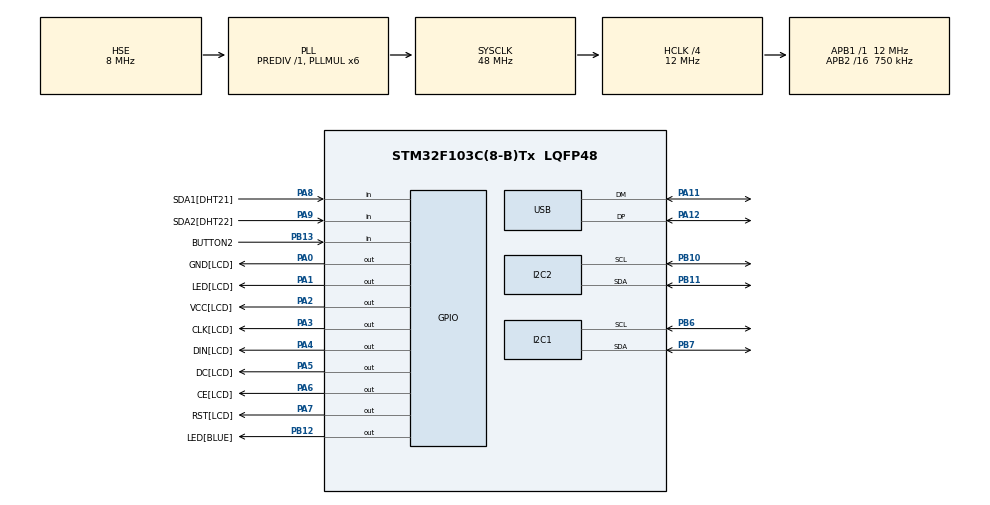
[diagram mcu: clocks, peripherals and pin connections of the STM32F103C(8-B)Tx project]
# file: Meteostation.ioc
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I2C1.I2C_Mode=I2C_Fast
Mcu.Family=STM32F1
Mcu.Name=STM32F103C(8-B)Tx
Mcu.Package=LQFP48
NVIC.PriorityGroup=NVIC_PRIORITYGROUP_4
NVIC.TIM3_IRQn=true\:0\:0\:false\:false\:true\:true
NVIC.USB_LP_CAN1_RX0_IRQn=true\:0\:0\:false\:false\:true\:false
PA0-WKUP.GPIO_Label=GND[LCD]
PA0-WKUP.Signal=GPIO_Output
PA1.GPIO_Label=LED[LCD]
PA1.Signal=GPIO_Output
PA11.Mode=Device
PA11.Signal=USB_DM
PA12.Mode=Device
PA12.Signal=USB_DP
PA13.Mode=Serial_Wire
PA13.Signal=SYS_JTMS-SWDIO
PA14.Mode=Serial_Wire
PA14.Signal=SYS_JTCK-SWCLK
PA2.GPIO_Label=VCC[LCD]
PA2.PinState=GPIO_PIN_SET
PA2.Signal=GPIO_Output
PA3.GPIO_Label=CLK[LCD]
PA3.Signal=GPIO_Output
PA4.GPIO_Label=DIN[LCD]
PA4.Signal=GPIO_Output
PA5.GPIO_Label=DC[LCD]
PA5.Signal=GPIO_Output
PA6.GPIO_Label=CE[LCD]
PA6.Signal=GPIO_Output
PA7.GPIO_Label=RST[LCD]
PA7.Signal=GPIO_Output
PA8.GPIO_Label=SDA1[DHT21]
PA8.GPIO_PuPd=GPIO_PULLUP
PA8.Signal=GPIO_Input
PA9.GPIO_Label=SDA2[DHT22]
PA9.GPIO_PuPd=GPIO_PULLUP
PA9.Signal=GPIO_Input
PB10.Mode=I2C
PB10.Signal=I2C2_SCL
PB11.Mode=I2C
PB11.Signal=I2C2_SDA
PB12.GPIO_Label=LED[BLUE]
PB12.PinState=GPIO_PIN_SET
PB12.Signal=GPIO_Output
PB13.GPIO_Label=BUTTON2
PB13.GPIO_PuPd=GPIO_PULLUP
PB13.Signal=GPIO_Input
PB6.Mode=I2C
PB6.Signal=I2C1_SCL
PB7.Mode=I2C
PB7.Signal=I2C1_SDA
PD0-OSC_IN.Mode=HSE-External-Oscillator
PD0-OSC_IN.Signal=RCC_OSC_IN
PD1-OSC_OUT.Mode=HSE-External-Oscillator
PD1-OSC_OUT.Signal=RCC_OSC_OUT
ProjectManager.HeapSize=0x200
ProjectManager.StackSize=0x400
ProjectManager.TargetToolchain=TrueSTUDIO
RCC.AHBCLKDivider=RCC_SYSCLK_DIV4
RCC.AHBFreq_Value=12000000
RCC.APB1Freq_Value=12000000
RCC.APB1TimFreq_Value=12000000
RCC.APB2CLKDivider=RCC_HCLK_DIV16
RCC.APB2Freq_Value=750000
RCC.APB2TimFreq_Value=1500000
RCC.HCLKFreq_Value=12000000
RCC.PLLMUL=RCC_PLL_MUL6
RCC.SYSCLKFreq_VALUE=48000000
RCC.SYSCLKSource=RCC_SYSCLKSOURCE_PLLCLK
RCC.USBFreq_Value=48000000
TIM2.Period=65535
TIM2.Prescaler=11
TIM2.TIM_MasterOutputTrigger=TIM_TRGO_RESET
TIM3.Period=29
TIM3.Prescaler=11999
TIM3.TIM_MasterOutputTrigger=TIM_TRGO_UPDATE
USB_DEVICE.CLASS_NAME_FS=CDC
USB_DEVICE.VirtualMode=Cdc
USB_DEVICE.VirtualModeFS=Cdc_FS
VP_TIM2_VS_ClockSourceINT.Mode=Internal
VP_TIM3_VS_ClockSourceINT.Mode=Internal
VP_USB_DEVICE_VS_USB_DEVICE_CDC_FS.Mode=CDC_FS
board=Meteostation

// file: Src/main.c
/**
  ******************************************************************************
  * @file           : main.c
  * @brief          : Main program body
  ******************************************************************************
  * This notice applies to any and all portions of this file
  * that are not between comment pairs USER CODE BEGIN and
  * USER CODE END. Other portions of this file, whether
  * inserted by the user or by software development tools
  * are owned by their respective copyright owners.
  *
  * Copyright (c) 2018 STMicroelectronics International N.V.
  * All rights reserved.
  *
  * Redistribution and use in source and binary forms, with or without
  * modification, are permitted, provided that the following conditions are met:
  *
  * 1. Redistribution of source code must retain the above copyright notice,
  *    this list of conditions and the following disclaimer.
  * 2. Redistributions in binary form must reproduce the above copyright notice,
  *    this list of conditions and the following disclaimer in the documentation
  *    and/or other materials provided with the distribution.
  * 3. Neither the name of STMicroelectronics nor the names of other
  *    contributors to this software may be used to endorse or promote products
  *    derived from this software without specific written permission.
  * 4. This software, including modifications and/or derivative works of this
  *    software, must execute solely and exclusively on microcontroller or
  *    microprocessor devices manufactured by or for STMicroelectronics.
  * 5. Redistribution and use of this software other than as permitted under
  *    this license is void and will automatically terminate your rights under
  *    this license.
  *
  * THIS SOFTWARE IS PROVIDED BY STMICROELECTRONICS AND CONTRIBUTORS "AS IS"
  * AND ANY EXPRESS, IMPLIED OR STATUTORY WARRANTIES, INCLUDING, BUT NOT
  * LIMITED TO, THE IMPLIED WARRANTIES OF MERCHANTABILITY, FITNESS FOR A
  * PARTICULAR PURPOSE AND NON-INFRINGEMENT OF THIRD PARTY INTELLECTUAL PROPERTY
  * RIGHTS ARE DISCLAIMED TO THE FULLEST EXTENT PERMITTED BY LAW. IN NO EVENT
  * SHALL STMICROELECTRONICS OR CONTRIBUTORS BE LIABLE FOR ANY DIRECT, INDIRECT,
  * INCIDENTAL, SPECIAL, EXEMPLARY, OR CONSEQUENTIAL DAMAGES (INCLUDING, BUT NOT
  * LIMITED TO, PROCUREMENT OF SUBSTITUTE GOODS OR SERVICES; LOSS OF USE, DATA,
  * OR PROFITS; OR BUSINESS INTERRUPTION) HOWEVER CAUSED AND ON ANY THEORY OF
  * LIABILITY, WHETHER IN CONTRACT, STRICT LIABILITY, OR TORT (INCLUDING
  * NEGLIGENCE OR OTHERWISE) ARISING IN ANY WAY OUT OF THE USE OF THIS SOFTWARE,
  * EVEN IF ADVISED OF THE POSSIBILITY OF SUCH DAMAGE.
  *
  ******************************************************************************
  */
#include "main.h"
#include "stm32f1xx_hal.h"
#include "usb_device.h"

/* USER CODE BEGIN Includes */

#include "fonts.h"
#include "nokia5110.h"

#define BME280_OPERATIONS
#define LED_OPERATIONS

#define WRITE_COMMAND	0x00

/* USER CODE END Includes */

I2C_HandleTypeDef hi2c1;
I2C_HandleTypeDef hi2c2;

TIM_HandleTypeDef htim2;
TIM_HandleTypeDef htim3;

/* USER CODE BEGIN PV */
/* Private variables ---------------------------------------------------------*/

typedef enum ButState
{							/**/
	RELEASED,				/**/
	PRESSED
} ButtonState;
ButtonState but1state = RELEASED;	/* i can't use it in file stm32f1xx_it.c 	_      _	*/
enum ButState but2state = RELEASED;										/*		 \_:[_/		*/

uint8_t x_adr, y_adr, dataDHT[5];
uint8_t but1, but2;	/*but_=1 means button pressed, 0 - released*/
uint8_t screen_state;	/* =0 - showing temp and rh, =1 - menu */
uint8_t menu_state;
uint16_t rh, tmpr, timeouts;
char  bufTx[100];
uint8_t dataBME[20];

int32_t t_fine, adc_TTx;
int32_t adc_HTx;
//uint16_t dig_T1, dig_T2, dig_T3;
//uint16_t dig_H1, dig_H2, dig_H3, dig_H4, dig_H5, dig_H6;

/* USER CODE END PV */

void SystemClock_Config(void);
static void MX_GPIO_Init(void);
static void MX_TIM2_Init(void);
static void MX_TIM3_Init(void);
static void MX_I2C1_Init(void);
static void MX_I2C2_Init(void);

/* USER CODE BEGIN PFP */
/* Private function prototypes -----------------------------------------------*/

/*HAL_StatusTypeDef HAL_TIM_Base_Start_IT(TIM_HandleTypeDef *htim);*/

uint8_t CDC_Transmit_FS(uint8_t* Buf, uint16_t Len);

HAL_StatusTypeDef HAL_I2C_Master_Transmit(I2C_HandleTypeDef *hi2c, uint16_t DevAddress, uint8_t *pData, uint16_t Size, uint32_t Timeout);
HAL_StatusTypeDef HAL_I2C_Master_Receive(I2C_HandleTypeDef *hi2c, uint16_t DevAddress, uint8_t *pData, uint16_t Size, uint32_t Timeout);
HAL_StatusTypeDef HAL_I2C_Mem_Read(I2C_HandleTypeDef *hi2c, uint16_t DevAddress, uint16_t MemAddress, uint16_t MemAddSize, uint8_t *pData, uint16_t Size, uint32_t Timeout);
HAL_StatusTypeDef HAL_I2C_Mem_Write(I2C_HandleTypeDef *hi2c, uint16_t DevAddress, uint16_t MemAddress, uint16_t MemAddSize, uint8_t *pData, uint16_t Size, uint32_t Timeout);

void PinAOut(uint16_t GPIO_Pin);
void PinAIn(uint16_t GPIO_Pin);

void StartDHT(uint16_t GPIO_Pin);
void ReadDHT(uint16_t GPIO_Pin);

void PrintRHTmprFont(uint16_t rh_or_tmpr);
void PrintBig(uint8_t num[][14]);
void PrintToBig(uint8_t number);
void PrintRHTmprBig(uint16_t rh_or_tmpr);
void PrintString(uint8_t *strng);
void myputc(uint8_t symbol);
void PrintVariable(uint16_t var);
void Screen0(void);
void Screen1(void);
void Switch0_1(void);
void Switch1_0(void);
void Switch1_2(void);
void Switch2_0(void);

int32_t BME280_tmpr(void);//(int32_t adc_T);
uint32_t BME280_h(void);
void BME280_reset(void);
void BME280_init(void);
void BME280_read(void);

void SSD1306_write(uint8_t* data);
void SSD1306_init(void);

/* USER CODE END PFP */

int main(void)
{

  /* MCU Configuration----------------------------------------------------------*/

  /* Reset of all peripherals, Initializes the Flash interface and the Systick. */
  HAL_Init();

  /* Configure the system clock */
  SystemClock_Config();

  /* Initialize all configured peripherals */
  MX_GPIO_Init();
  MX_TIM2_Init();
  MX_TIM3_Init();
  MX_USB_DEVICE_Init();
  MX_I2C1_Init();
  MX_I2C2_Init();
  /* USER CODE BEGIN 2 */

  LCD_Init();

  HAL_TIM_Base_Start_IT(&htim3);

  /* USER CODE END 2 */

  /* Infinite loop */
  /* USER CODE BEGIN WHILE */

  LCD_RAM_Clr();
  SetXY(24,2);
  PrintString((uint8_t*)"Привет");
  HAL_Delay(200);
  PrintFrame();

  HAL_Delay(900);	/*DHT2_ NEEDS 2S DELAY FOR INITIALIZATION*/
  HAL_Delay(5000);

  //BME280_reset();
  BME280_init();

  SSD1306_init();

  HAL_Delay(2500);

  while(1)
  {

	  BME280_read();

//	  HAL_Delay(5);
//	  dataBME[0] = 0x00;
//	  //dataBME[1] = 0xFF;
//	  if( HAL_I2C_Mem_Write(&hi2c2, 0x78, 0xC0, I2C_MEMADD_SIZE_8BIT, dataBME, 1, 0x10000)==HAL_OK )
//		  CDC_Transmit_FS("\nwrite data 0xFF", strlen);

	  switch(screen_state)
	  {
	  case 0:
		  Screen0();
		  break;
	  case 1:
		  HAL_Delay(500);	/* without this doesn't work 		 */
		  break;			/* switch to Screen0 (optimization?) */
	  case 2:
		  break;
	  default:
		  /*PinReset(LEDB12_GPIO_Port, LEDB12_Pin);*/	/* error */
		  HAL_GPIO_WritePin(LEDB12_GPIO_Port, LEDB12_Pin, GPIO_PIN_RESET);
		  break;
	  }

  }

  /* USER CODE END WHILE */

}

void SystemClock_Config(void)
{

  RCC_OscInitTypeDef RCC_OscInitStruct;
  RCC_ClkInitTypeDef RCC_ClkInitStruct;
  RCC_PeriphCLKInitTypeDef PeriphClkInit;

    /**Initializes the CPU, AHB and APB busses clocks
    */
  RCC_OscInitStruct.OscillatorType = RCC_OSCILLATORTYPE_HSE;
  RCC_OscInitStruct.HSEState = RCC_HSE_ON;
  RCC_OscInitStruct.HSEPredivValue = RCC_HSE_PREDIV_DIV1;
  RCC_OscInitStruct.HSIState = RCC_HSI_ON;
  RCC_OscInitStruct.PLL.PLLState = RCC_PLL_ON;
  RCC_OscInitStruct.PLL.PLLSource = RCC_PLLSOURCE_HSE;
  RCC_OscInitStruct.PLL.PLLMUL = RCC_PLL_MUL6;
  if (HAL_RCC_OscConfig(&RCC_OscInitStruct) != HAL_OK)
  {
    _Error_Handler(__FILE__, __LINE__);
  }

    /**Initializes the CPU, AHB and APB busses clocks
    */
  RCC_ClkInitStruct.ClockType = RCC_CLOCKTYPE_HCLK|RCC_CLOCKTYPE_SYSCLK
                              |RCC_CLOCKTYPE_PCLK1|RCC_CLOCKTYPE_PCLK2;
  RCC_ClkInitStruct.SYSCLKSource = RCC_SYSCLKSOURCE_PLLCLK;
  RCC_ClkInitStruct.AHBCLKDivider = RCC_SYSCLK_DIV4;
  RCC_ClkInitStruct.APB1CLKDivider = RCC_HCLK_DIV1;
  RCC_ClkInitStruct.APB2CLKDivider = RCC_HCLK_DIV16;

  if (HAL_RCC_ClockConfig(&RCC_ClkInitStruct, FLASH_LATENCY_1) != HAL_OK)
  {
    _Error_Handler(__FILE__, __LINE__);
  }

  PeriphClkInit.PeriphClockSelection = RCC_PERIPHCLK_USB;
  PeriphClkInit.UsbClockSelection = RCC_USBCLKSOURCE_PLL;
  if (HAL_RCCEx_PeriphCLKConfig(&PeriphClkInit) != HAL_OK)
  {
    _Error_Handler(__FILE__, __LINE__);
  }

    /**Configure the Systick interrupt time
    */
  HAL_SYSTICK_Config(HAL_RCC_GetHCLKFreq()/1000);

    /**Configure the Systick
    */
  HAL_SYSTICK_CLKSourceConfig(SYSTICK_CLKSOURCE_HCLK);

  /* SysTick_IRQn interrupt configuration */
  HAL_NVIC_SetPriority(SysTick_IRQn, 0, 0);
}

/* I2C1 init function */
static void MX_I2C1_Init(void)
{

  hi2c1.Instance = I2C1;
  hi2c1.Init.ClockSpeed = 400000;
  hi2c1.Init.DutyCycle = I2C_DUTYCYCLE_2;
  hi2c1.Init.OwnAddress1 = 0;
  hi2c1.Init.AddressingMode = I2C_ADDRESSINGMODE_7BIT;
  hi2c1.Init.DualAddressMode = I2C_DUALADDRESS_DISABLE;
  hi2c1.Init.OwnAddress2 = 0;
  hi2c1.Init.GeneralCallMode = I2C_GENERALCALL_DISABLE;
  hi2c1.Init.NoStretchMode = I2C_NOSTRETCH_DISABLE;
  if (HAL_I2C_Init(&hi2c1) != HAL_OK)
  {
    _Error_Handler(__FILE__, __LINE__);
  }

}

/* I2C2 init function */
static void MX_I2C2_Init(void)
{

  hi2c2.Instance = I2C2;
  hi2c2.Init.ClockSpeed = 100000;
  hi2c2.Init.DutyCycle = I2C_DUTYCYCLE_2;
  hi2c2.Init.OwnAddress1 = 0;
  hi2c2.Init.AddressingMode = I2C_ADDRESSINGMODE_7BIT;
  hi2c2.Init.DualAddressMode = I2C_DUALADDRESS_DISABLE;
  hi2c2.Init.OwnAddress2 = 0;
  hi2c2.Init.GeneralCallMode = I2C_GENERALCALL_DISABLE;
  hi2c2.Init.NoStretchMode = I2C_NOSTRETCH_DISABLE;
  if (HAL_I2C_Init(&hi2c2) != HAL_OK)
  {
    _Error_Handler(__FILE__, __LINE__);
  }

}

/* TIM2 init function */
static void MX_TIM2_Init(void)
{

  TIM_ClockConfigTypeDef sClockSourceConfig;
  TIM_MasterConfigTypeDef sMasterConfig;

  htim2.Instance = TIM2;
  htim2.Init.Prescaler = 11;
  htim2.Init.CounterMode = TIM_COUNTERMODE_UP;
  htim2.Init.Period = 65535;
  htim2.Init.ClockDivision = TIM_CLOCKDIVISION_DIV1;
  htim2.Init.AutoReloadPreload = TIM_AUTORELOAD_PRELOAD_DISABLE;
  if (HAL_TIM_Base_Init(&htim2) != HAL_OK)
  {
    _Error_Handler(__FILE__, __LINE__);
  }

  sClockSourceConfig.ClockSource = TIM_CLOCKSOURCE_INTERNAL;
  if (HAL_TIM_ConfigClockSource(&htim2, &sClockSourceConfig) != HAL_OK)
  {
    _Error_Handler(__FILE__, __LINE__);
  }

  sMasterConfig.MasterOutputTrigger = TIM_TRGO_RESET;
  sMasterConfig.MasterSlaveMode = TIM_MASTERSLAVEMODE_DISABLE;
  if (HAL_TIMEx_MasterConfigSynchronization(&htim2, &sMasterConfig) != HAL_OK)
  {
    _Error_Handler(__FILE__, __LINE__);
  }

}

/* TIM3 init function */
static void MX_TIM3_Init(void)
{

  TIM_ClockConfigTypeDef sClockSourceConfig;
  TIM_MasterConfigTypeDef sMasterConfig;

  htim3.Instance = TIM3;
  htim3.Init.Prescaler = 11999;
  htim3.Init.CounterMode = TIM_COUNTERMODE_UP;
  htim3.Init.Period = 29;
  htim3.Init.ClockDivision = TIM_CLOCKDIVISION_DIV1;
  htim3.Init.AutoReloadPreload = TIM_AUTORELOAD_PRELOAD_DISABLE;
  if (HAL_TIM_Base_Init(&htim3) != HAL_OK)
  {
    _Error_Handler(__FILE__, __LINE__);
  }

  sClockSourceConfig.ClockSource = TIM_CLOCKSOURCE_INTERNAL;
  if (HAL_TIM_ConfigClockSource(&htim3, &sClockSourceConfig) != HAL_OK)
  {
    _Error_Handler(__FILE__, __LINE__);
  }

  sMasterConfig.MasterOutputTrigger = TIM_TRGO_UPDATE;
  sMasterConfig.MasterSlaveMode = TIM_MASTERSLAVEMODE_DISABLE;
  if (HAL_TIMEx_MasterConfigSynchronization(&htim3, &sMasterConfig) != HAL_OK)
  {
    _Error_Handler(__FILE__, __LINE__);
  }

}

/** Configure pins as
        * Analog
        * Input
        * Output
        * EVENT_OUT
        * EXTI
*/
static void MX_GPIO_Init(void)
{

  GPIO_InitTypeDef GPIO_InitStruct;

  /* GPIO Ports Clock Enable */
  __HAL_RCC_GPIOD_CLK_ENABLE();
  __HAL_RCC_GPIOA_CLK_ENABLE();
  __HAL_RCC_GPIOB_CLK_ENABLE();

  /*Configure GPIO pin Output Level */
  HAL_GPIO_WritePin(GPIOA, GND_Pin|LED_Pin|CLK_Pin|DIN_Pin
                          |DC_Pin|CE_Pin|RST_Pin, GPIO_PIN_RESET);

  /*Configure GPIO pin Output Level */
  HAL_GPIO_WritePin(VCC_GPIO_Port, VCC_Pin, GPIO_PIN_SET);

  /*Configure GPIO pin Output Level */
  HAL_GPIO_WritePin(LEDB12_GPIO_Port, LEDB12_Pin, GPIO_PIN_SET);

  /*Configure GPIO pins : GND_Pin LED_Pin VCC_Pin CLK_Pin
                           DIN_Pin DC_Pin CE_Pin RST_Pin */
  GPIO_InitStruct.Pin = GND_Pin|LED_Pin|VCC_Pin|CLK_Pin
                          |DIN_Pin|DC_Pin|CE_Pin|RST_Pin;
  GPIO_InitStruct.Mode = GPIO_MODE_OUTPUT_PP;
  GPIO_InitStruct.Pull = GPIO_NOPULL;
  GPIO_InitStruct.Speed = GPIO_SPEED_FREQ_LOW;
  HAL_GPIO_Init(GPIOA, &GPIO_InitStruct);

  /*Configure GPIO pin : LEDB12_Pin */
  GPIO_InitStruct.Pin = LEDB12_Pin;
  GPIO_InitStruct.Mode = GPIO_MODE_OUTPUT_PP;
  GPIO_InitStruct.Pull = GPIO_NOPULL;
  GPIO_InitStruct.Speed = GPIO_SPEED_FREQ_LOW;
  HAL_GPIO_Init(LEDB12_GPIO_Port, &GPIO_InitStruct);

  /*Configure GPIO pin : BUTTON2_Pin */
  GPIO_InitStruct.Pin = BUTTON2_Pin;
  GPIO_InitStruct.Mode = GPIO_MODE_INPUT;
  GPIO_InitStruct.Pull = GPIO_PULLUP;
  HAL_GPIO_Init(BUTTON2_GPIO_Port, &GPIO_InitStruct);

  /*Configure GPIO pins : SDA1_Pin SDA2_Pin */
  GPIO_InitStruct.Pin = SDA1_Pin|SDA2_Pin;
  GPIO_InitStruct.Mode = GPIO_MODE_INPUT;
  GPIO_InitStruct.Pull = GPIO_PULLUP;
  HAL_GPIO_Init(GPIOA, &GPIO_InitStruct);

}

/* USER CODE BEGIN 4 */

void PinAOut(uint16_t GPIO_Pin)
{
	GPIO_InitTypeDef GPIO_InitStruct;

	GPIO_InitStruct.Pin = GPIO_Pin;
	GPIO_InitStruct.Mode = GPIO_MODE_OUTPUT_PP;
	GPIO_InitStruct.Speed = GPIO_SPEED_FREQ_LOW;
	HAL_GPIO_Init(GPIOA, &GPIO_InitStruct);

}
void PinAIn(uint16_t GPIO_Pin)
{
	GPIO_InitTypeDef GPIO_InitStruct;

	GPIO_InitStruct.Pin = GPIO_Pin;
	GPIO_InitStruct.Mode = GPIO_MODE_INPUT;
	GPIO_InitStruct.Pull = GPIO_PULLUP;
	HAL_GPIO_Init(GPIOA, &GPIO_InitStruct);
}

void StartDHT(uint16_t GPIO_Pin)
{
	PinAOut(GPIO_Pin);
	/*PinReset(GPIOA, GPIO_Pin);*/
	HAL_GPIO_WritePin(GPIOA, GPIO_Pin, GPIO_PIN_RESET);
	HAL_Delay(2);				/*delay 2ms*/
	PinAIn(GPIO_Pin);

	while( HAL_GPIO_ReadPin(GPIOA, GPIO_Pin)==GPIO_PIN_SET );
	while( HAL_GPIO_ReadPin(GPIOA, GPIO_Pin)==GPIO_PIN_RESET );
	while( HAL_GPIO_ReadPin(GPIOA, GPIO_Pin)==GPIO_PIN_SET );

}
void ReadDHT(uint16_t GPIO_Pin)
{		/* ReadDHT function executing ~10ms */
	uint8_t i, j;

	HAL_NVIC_DisableIRQ(TIM3_IRQn);	/* try later to disable interrupts after StartDHT() */

	StartDHT(GPIO_Pin);

	for(i=0; i<5; i++)
	{
		for(j=7; j<=7; j--)
		{
			TIM2->CNT = 0;
			while( HAL_GPIO_ReadPin(GPIOA, GPIO_Pin)==GPIO_PIN_RESET );
			TIM2->CR1 = 1;
			while( HAL_GPIO_ReadPin(GPIOA, GPIO_Pin)==GPIO_PIN_SET )
				{
					if( TIM2->CNT > 200 )
					{
						TIM2->CNT = 0;
						TIM2->CR1 = 0;
						timeouts++;
						return;
					}
				}
			TIM2->CR1 = 0;

			if( (TIM2->CNT)>MICROSECONDS50 )	/*75us: data bit=1*/
				dataDHT[i] |= 1<<j;				/*25us: data bit=0*/
			else
				dataDHT[i] &= ~(1<<j);
		}
	}

	HAL_NVIC_EnableIRQ(TIM3_IRQn);

	/*MAYBE LATER SHOULD  ADD CHECKING DATA FROM DHT BY CRC*/

}
/*void PrintRHTmprFont(uint16_t rh_or_tmpr)
{
	uint8_t tens, units, tenth;

	tenth = rh_or_tmpr%10;
	rh_or_tmpr /= 10;
	units = rh_or_tmpr%10;
	tens = rh_or_tmpr/10;

	PrintFont(tens);
	PrintFont(units);
	PrintFont(tenth);
}*/
void PrintBig(uint8_t num[][14])
{
	uint8_t i, j;

	for(i=0; i<3; i++)
	{
		XadressLCD();
		if( y_adr<3 )
			y_adr = i;
		else
			y_adr = i+3;
		YadressLCD();

		for(j=0; j<14; j++)
			SendData( num[i][j] );
	}

}
void PrintToBig(uint8_t number)
{
	switch(number)
	{
	case 0:
		PrintBig(num0);
		break;
	case 1:
		PrintBig(num1);
		break;
	case 2:
		PrintBig(num2);
		break;
	case 3:
		PrintBig(num3);
		break;
	case 4:
		PrintBig(num4);
		break;
	case 5:
		PrintBig(num5);
		break;
	case 6:
		PrintBig(num6);
		break;
	case 7:
		PrintBig(num7);
		break;
	case 8:
		PrintBig(num8);
		break;
	case 9:
		PrintBig(num9);
		break;
	default:
		PrintBig(num0);
		break;
	}
}
void PrintRHTmprBig(uint16_t rh_or_tmpr)
{
	uint8_t tens, units, tenth, temp;

	if( rh_or_tmpr==tmpr )
	{
		temp = 0;
//		CDC_Transmit_FS("\ntmp=", 5);
	}
	else
	{
		temp = 3;
//		CDC_Transmit_FS("\trh=", 4);
	}

	tenth = rh_or_tmpr%10;
	rh_or_tmpr /= 10;
	units = rh_or_tmpr%10;
	tens = rh_or_tmpr/10;

		x_adr = 1;
		y_adr = temp;
		PrintToBig(tens);
		x_adr = 16;
		y_adr = temp;
		PrintToBig(units);
		x_adr = 35;
		y_adr = temp;
		PrintToBig(tenth);

//		sprintf(bufTx, "%d%d,%d", tens, units, tenth);
//		CDC_Transmit_FS(bufTx, strlen(bufTx));

}
void PrintString(uint8_t *strng)
{
	while(*strng)
	{
		myputc(*strng++);

	}
}
void myputc(uint8_t symbol)
{
	uint8_t i;

	for(i=0; i<5; i++)
		SendData( FontTable [symbol][i] );

	x_adr += 6;
	XadressLCD();
}
void PrintVariable(uint16_t var)
{
	uint8_t hundreds, tens, units;

	hundreds = var/100;
	var %= 100;
	tens = var/10;
	units = var%10;

/*	tenth = var%10;
	var /= 10;
	units = var%10;
	tens = var/10;*/

	myputc(hundreds+48);
	myputc(tens+48);
	myputc(units+48);
}

void Screen0(void)
{
	ReadDHT(SDA1_Pin);				//reading DHT21
	rh = dataDHT[0]*256 + dataDHT[1];
	tmpr = dataDHT[2]*256 + dataDHT[3];
	PrintRHTmprBig(tmpr);
	PrintRHTmprBig(rh);
	HAL_Delay(1000);

	if( !screen_state )
	{
		ReadDHT(SDA2_Pin);				//reading DHT22
		rh = dataDHT[0]*256 + dataDHT[1];
		tmpr = dataDHT[2]*256 + dataDHT[3];
		PrintRHTmprBig(tmpr);
		PrintRHTmprBig(rh);
		HAL_Delay(1000);
	}
}
void Screen1(void)
{
	LCD_RAM_Clr();
	PrintString((uint8_t*)"     Меню");
	SetXY(0,1);
	PrintString((uint8_t*)"о 0 пункт");
	SetXY(0,2);
	PrintString((uint8_t*)"  1 пункт");
	SetXY(0,3);
	PrintString((uint8_t*)"  2 выход");
	SetXY(0,4);
	PrintString((uint8_t*)"таймауты ");
	PrintVariable(timeouts);

}
void Switch0_1(void)
{
	SetXY(0,1);
	PrintString((uint8_t*)" ");
	SetXY(0,2);
	PrintString((uint8_t*)"о");
}
void Switch1_0(void)
{
	SetXY(0,1);
	PrintString((uint8_t*)"о");
	SetXY(0,2);
	PrintString((uint8_t*)" ");
}
void Switch1_2(void)
{
	SetXY(0,2);
	PrintString((uint8_t*)" ");
	SetXY(0,3);
	PrintString((uint8_t*)"о");
}
void Switch2_0(void)
{
	SetXY(0,3);
	PrintString((uint8_t*)" ");
	SetXY(0,1);
	PrintString((uint8_t*)"о");
}

#ifdef BME280_OPERATIONS

int32_t BME280_tmpr(void)	//(int32_t adc_T)
{
	int32_t adc_T, var1, var2, T;
	uint16_t dig_T1;
	int16_t dig_T2, dig_T3;

	if( HAL_I2C_Mem_Read(&hi2c1, 0xEC, 0xFA, I2C_MEMADD_SIZE_8BIT, dataBME, 3, 0x10000)==HAL_OK )
		/*CDC_Transmit_FS("\ntemperature raw received ", strlen)*/;
	adc_T = (((int32_t)dataBME[0])<<16) + (((int32_t)dataBME[1])<<8) + (int32_t)dataBME[2];
	adc_T &= 0x00FFFFFF;
	adc_T >>= 4;

	adc_TTx = adc_T;

	HAL_Delay(5);
	if( HAL_I2C_Mem_Read(&hi2c1, 0xEC, 0x88, I2C_MEMADD_SIZE_8BIT, dataBME, 6, 0x10000)==HAL_OK )
		/*CDC_Transmit_FS("\ndig_T1-T3 received ", strlen)*/;
	dig_T1 = (uint16_t)dataBME[0] + (((uint16_t)dataBME[1])<<8);
	dig_T2 = (uint16_t)dataBME[2] + (((uint16_t)dataBME[3])<<8);
	dig_T3 = (uint16_t)dataBME[4] + (((uint16_t)dataBME[5])<<8);
//	HAL_Delay(5);
//	sprintf(bufTx, "\ndig_T1 = %d \ndig_T2 = %d \ndig_T3 = %d", dig_T1, dig_T2, dig_T3);
//	CDC_Transmit_FS(bufTx, strlen(bufTx));

	var1 = ((((adc_T>>3) - ((int32_t)dig_T1<<1))) * ((int32_t)dig_T2)) >> 11;
	var2 = (((((adc_T>>4) - ((int32_t)dig_T1)) * ((adc_T>>4) - ((int32_t)dig_T1))) >> 12) *
			((int32_t)dig_T3)) >> 14;
	t_fine = var1 + var2;
	T = (t_fine * 5 + 128) >> 8;
	return T;
}
uint32_t BME280_h(void)	//(int32_t adc_H)
{
	int32_t v_x1_u32r, adc_H;
	uint8_t dig_H1, dig_H3;
	int16_t dig_H2, dig_H4, dig_H5;
	int8_t dig_H6;

	if( HAL_I2C_Mem_Read(&hi2c1, 0xEC, 0xFD, I2C_MEMADD_SIZE_8BIT, dataBME, 2, 0x10000)==HAL_OK )
		/*CDC_Transmit_FS("\nhumidity raw received ", strlen)*/;
	adc_H = ((int32_t)dataBME[0]<<8) + (int32_t)dataBME[1];
	adc_HTx = adc_H;

	if( HAL_I2C_Mem_Read(&hi2c1, 0xEC, 0xA1, I2C_MEMADD_SIZE_8BIT, dataBME, 1, 0x10000)==HAL_OK )
		;
	dig_H1 = dataBME[0];
	if( HAL_I2C_Mem_Read(&hi2c1, 0xEC, 0xE1, I2C_MEMADD_SIZE_8BIT, dataBME, 2, 0x10000)==HAL_OK )
		;
	dig_H2 = (int16_t)dataBME[0] + (((int16_t)dataBME[1])<<8);
	if( HAL_I2C_Mem_Read(&hi2c1, 0xEC, 0xE3, I2C_MEMADD_SIZE_8BIT, dataBME, 1, 0x10000)==HAL_OK )
		;
	dig_H3 = dataBME[0];
	if( HAL_I2C_Mem_Read(&hi2c1, 0xEC, 0xE4, I2C_MEMADD_SIZE_8BIT, dataBME, 2, 0x10000)==HAL_OK )
			;
	dig_H4 = (((int16_t)dataBME[0])<<4) + (((int16_t)dataBME[1])&0x0F);
	if( HAL_I2C_Mem_Read(&hi2c1, 0xEC, 0xE6, I2C_MEMADD_SIZE_8BIT, dataBME, 1, 0x10000)==HAL_OK )
		;
	dig_H5 = (((int16_t)dataBME[1])>>4) + (((int16_t)dataBME[0])<<4);
	if( HAL_I2C_Mem_Read(&hi2c1, 0xEC, 0xE7, I2C_MEMADD_SIZE_8BIT, dataBME, 1, 0x10000)==HAL_OK )
			;
	dig_H6 = dataBME[0];

//	HAL_Delay(5);
//	sprintf(bufTx, "\ndig_H1 = %d \ndig_H2 = %d \ndig_H3 = %d \ndig_H4 = %d \ndig_H5 = %d \ndig_H6 = %d",
//				dig_H1, dig_H2, dig_H3, dig_H4, dig_H5, dig_H6);
//	CDC_Transmit_FS(bufTx, strlen(bufTx));

	v_x1_u32r = (t_fine - ((int32_t)76800));
	v_x1_u32r = (((((adc_H << 14) - (((int32_t)dig_H4) << 20) - (((int32_t)dig_H5) * v_x1_u32r)) +
			((int32_t)16384)) >> 15) * (((((((v_x1_u32r * ((int32_t)dig_H6)) >> 10) * (((v_x1_u32r *
			((int32_t)dig_H3)) >> 11) + ((int32_t)32768))) >> 10) + ((int32_t)2097152)) *
			((int32_t)dig_H2) + 8192) >> 14));
	v_x1_u32r = (v_x1_u32r - (((((v_x1_u32r >> 15) * (v_x1_u32r >> 15)) >> 7) * ((int32_t)dig_H1)) >> 4));
	v_x1_u32r = (v_x1_u32r < 0 ? 0 : v_x1_u32r);
	v_x1_u32r = (v_x1_u32r > 419430400 ? 419430400 : v_x1_u32r);
	return (uint32_t)(v_x1_u32r>>12);

}
void BME280_reset(void)
{
	  HAL_Delay(5);//
	  dataBME[0] = 0xB6;
	  if( HAL_I2C_Mem_Write(&hi2c1, 0xEC, 0xE0, I2C_MEMADD_SIZE_8BIT, dataBME, 1, 0x10000)==HAL_OK )
		  CDC_Transmit_FS((uint8_t*)"\nreset BME280", strlen("\nreset BME280"));
	  HAL_Delay(1000);
	  if( HAL_I2C_Mem_Read(&hi2c1, 0xEC, 0xF3, I2C_MEMADD_SIZE_8BIT, dataBME, 1, 0x10000)==HAL_OK )
	  		  CDC_Transmit_FS((uint8_t*)"\nstatus reading", strlen("\nstatus reading"));
	  HAL_Delay(5);
	  dataBME[0] &= 0b00001001;
	  sprintf(bufTx, "\nstatus=0x%X", dataBME[0]);
	  CDC_Transmit_FS((uint8_t*)bufTx, strlen(bufTx));
}
void BME280_init(void)
{
	  //set filter and stby duration
	  HAL_Delay(5);
	  dataBME[0] = 0b1000000;	//set  stby duration 500ms
	  if( HAL_I2C_Mem_Write(&hi2c1, 0xEC, 0xF5, I2C_MEMADD_SIZE_8BIT, dataBME, 1, 0x10000)==HAL_OK )
		  CDC_Transmit_FS((uint8_t*)"\nset stdby duration 500ms", strlen("\nset stdby duration 500ms"));

	  //normal mode launch
	  HAL_Delay(5);//
	  dataBME[0] = 0b00000001;	//set humidity oversampling *1
	  if( HAL_I2C_Mem_Write(&hi2c1, 0xEC, 0xF2, I2C_MEMADD_SIZE_8BIT, dataBME, 1, 0x10000)==HAL_OK )
		  CDC_Transmit_FS((uint8_t*)"\nset humidity oversampling *1", 29);
	  HAL_Delay(5);//
	  dataBME[0] = 0b00100011;	//set temperature oversampling *1
	  if( HAL_I2C_Mem_Write(&hi2c1, 0xEC, 0xF4, I2C_MEMADD_SIZE_8BIT, dataBME, 1, 0x10000)==HAL_OK )
		  CDC_Transmit_FS((uint8_t*)"\nset temperature oversampling *1\nnormal mode launch", strlen("\nset temperature oversampling *1\nnormal mode launch"));
}
void BME280_read(void)
{
//		  if( HAL_I2C_Mem_Read(&hi2c2, 0xEC, 0xF4, I2C_MEMADD_SIZE_8BIT, dataBME, 1, 0x10000)==HAL_OK )
//			  CDC_Transmit_FS("\nctrl reading", strlen);
	//	  HAL_Delay(5);
	//	  sprintf(bufTx, "\nctrl = 0x%X", dataBME[0]);
	//	  CDC_Transmit_FS(bufTx, strlen(bufTx));
	//
	//	  HAL_Delay(5);
	//	  sprintf(bufTx, "\nadc_T = 0x%X", adc_TTx);
	//	  CDC_Transmit_FS(bufTx, strlen(bufTx));
	//
	//	  HAL_Delay(5);
	//	  sprintf(bufTx, "\nadc_H = 0x%X", adc_HTx);
	//	  CDC_Transmit_FS(bufTx, strlen(bufTx));

		  //temperature reading
		  sprintf(bufTx, "\nBME280tmpr = %ld", BME280_tmpr());
		  HAL_Delay(5);
		  CDC_Transmit_FS((uint8_t*)bufTx, strlen(bufTx));

		  //humidity reading
		  sprintf(bufTx, "\nBME280hum = %ld", BME280_h());
		  HAL_Delay(5);
		  CDC_Transmit_FS((uint8_t*)bufTx, strlen(bufTx));
}

#endif //BME280_OPERATIONS

#ifdef LED_OPERATIONS

void SSD1306_write(uint8_t* data)
{
	HAL_Delay(5);		//pause for USB transmit success
	if( HAL_I2C_Mem_Write(&hi2c2, 0x78, WRITE_COMMAND, I2C_MEMADD_SIZE_8BIT, data, 1, 0x10000)==HAL_OK )
		{
			sprintf(bufTx, "\ncommand 0x%X", *data);
			CDC_Transmit_FS((uint8_t*)bufTx, strlen(bufTx));
		}

}
void SSD1306_init(void)
{
	//Set MUX Ratio
//	HAL_Delay(5);
//	dataBME[0] = 0xA8;
//	if( HAL_I2C_Mem_Write(&hi2c2, 0x78, WRITE_COMMAND, I2C_MEMADD_SIZE_8BIT, dataBME, 1, 0x10000)==HAL_OK )
//		CDC_Transmit_FS("\ncommand 0xA8", strlen);
//	HAL_Delay(5);
//	dataBME[0] = 0x3F;
//	if( HAL_I2C_Mem_Write(&hi2c2, 0x78, WRITE_COMMAND, I2C_MEMADD_SIZE_8BIT, dataBME, 1, 0x10000)==HAL_OK )
//		CDC_Transmit_FS("\ncommand 0x3F", strlen);
	dataBME[0] = 0xA8;
	SSD1306_write(dataBME);
	dataBME[0] = 0x3F;
	SSD1306_write(dataBME);

	//Set Display Offset
	HAL_Delay(5);
	dataBME[0] = 0xD3;
	if( HAL_I2C_Mem_Write(&hi2c2, 0x78, WRITE_COMMAND, I2C_MEMADD_SIZE_8BIT, dataBME, 1, 0x10000)==HAL_OK )
		CDC_Transmit_FS((uint8_t*)"\ncommand 0xD3", strlen("\ncommand 0xD3"));
	HAL_Delay(5);
	dataBME[0] = 0x00;
	if( HAL_I2C_Mem_Write(&hi2c2, 0x78, WRITE_COMMAND, I2C_MEMADD_SIZE_8BIT, dataBME, 1, 0x10000)==HAL_OK )
		CDC_Transmit_FS("\ncommand 0x00", strlen);

	//Set Display Startline
	HAL_Delay(5);
	dataBME[0] = 0x40;
	if( HAL_I2C_Mem_Write(&hi2c2, 0x78, WRITE_COMMAND, I2C_MEMADD_SIZE_8BIT, dataBME, 1, 0x10000)==HAL_OK )
		CDC_Transmit_FS("\ncommand 0x40", strlen);

	//Set Segment Remap
	HAL_Delay(5);
	dataBME[0] = 0xA0;
	if( HAL_I2C_Mem_Write(&hi2c2, 0x78, WRITE_COMMAND, I2C_MEMADD_SIZE_8BIT, dataBME, 1, 0x10000)==HAL_OK )
		CDC_Transmit_FS("\ncommand 0xA0", strlen);
	HAL_Delay(5);
	dataBME[0] = 0xA1;
	if( HAL_I2C_Mem_Write(&hi2c2, 0x78, WRITE_COMMAND, I2C_MEMADD_SIZE_8BIT, dataBME, 1, 0x10000)==HAL_OK )
		CDC_Transmit_FS("\ncommand 0xA1", strlen);

	//Set COM Output Scan Direction
	HAL_Delay(5);
	dataBME[0] = 0xC0;
	if( HAL_I2C_Mem_Write(&hi2c2, 0x78, WRITE_COMMAND, I2C_MEMADD_SIZE_8BIT, dataBME, 1, 0x10000)==HAL_OK )
		CDC_Transmit_FS("\ncommand 0xC0", strlen);
	HAL_Delay(5);
	dataBME[0] = 0xC8;
	if( HAL_I2C_Mem_Write(&hi2c2, 0x78, WRITE_COMMAND, I2C_MEMADD_SIZE_8BIT, dataBME, 1, 0x10000)==HAL_OK )
		CDC_Transmit_FS("\ncommand 0xC8", strlen);

	//Set COM Pins Hardware Configuration
	HAL_Delay(5);
	dataBME[0] = 0xDA;
	if( HAL_I2C_Mem_Write(&hi2c2, 0x78, WRITE_COMMAND, I2C_MEMADD_SIZE_8BIT, dataBME, 1, 0x10000)==HAL_OK )
		CDC_Transmit_FS("\ncommand 0xDA", strlen);
	HAL_Delay(5);
	dataBME[0] = 0x02;
	if( HAL_I2C_Mem_Write(&hi2c2, 0x78, WRITE_COMMAND, I2C_MEMADD_SIZE_8BIT, dataBME, 1, 0x10000)==HAL_OK )
		CDC_Transmit_FS("\ncommand 0x02", strlen);

	//Set Contrast Control
	HAL_Delay(5);
	dataBME[0] = 0x81;
	if( HAL_I2C_Mem_Write(&hi2c2, 0x78, WRITE_COMMAND, I2C_MEMADD_SIZE_8BIT, dataBME, 1, 0x10000)==HAL_OK )
		CDC_Transmit_FS("\ncommand 0x81", strlen);
	HAL_Delay(5);
	dataBME[0] = 0x7F;
	if( HAL_I2C_Mem_Write(&hi2c2, 0x78, WRITE_COMMAND, I2C_MEMADD_SIZE_8BIT, dataBME, 1, 0x10000)==HAL_OK )
		CDC_Transmit_FS("\ncommand 0x7F", strlen);

	//Disable Entire Display On
	HAL_Delay(5);
	dataBME[0] = 0xA4;
	if( HAL_I2C_Mem_Write(&hi2c2, 0x78, WRITE_COMMAND, I2C_MEMADD_SIZE_8BIT, dataBME, 1, 0x10000)==HAL_OK )
		CDC_Transmit_FS("\ncommand 0xA4", strlen);

	//Set Normal Display
	HAL_Delay(5);
	dataBME[0] = 0xA6;
	if( HAL_I2C_Mem_Write(&hi2c2, 0x78, WRITE_COMMAND, I2C_MEMADD_SIZE_8BIT, dataBME, 1, 0x10000)==HAL_OK )
		CDC_Transmit_FS("\nSet non-inverse display", strlen);

	//Set Osc Frequency
	HAL_Delay(5);
	dataBME[0] = 0xD5;
	if( HAL_I2C_Mem_Write(&hi2c2, 0x78, WRITE_COMMAND, I2C_MEMADD_SIZE_8BIT, dataBME, 1, 0x10000)==HAL_OK )
		CDC_Transmit_FS("\ncommand 0xD5", strlen);
	HAL_Delay(5);
	dataBME[0] = 0x80;
	if( HAL_I2C_Mem_Write(&hi2c2, 0x78, WRITE_COMMAND, I2C_MEMADD_SIZE_8BIT, dataBME, 1, 0x10000)==HAL_OK )
		CDC_Transmit_FS("\ncommand 0x80", strlen);

	//Enable Charge Pump Regulator
	HAL_Delay(5);
	dataBME[0] = 0x8D;
	//dataBME[1] = 0x14;
	if( HAL_I2C_Mem_Write(&hi2c2, 0x78, WRITE_COMMAND, I2C_MEMADD_SIZE_8BIT, dataBME, 1, 0x10000)==HAL_OK )
		CDC_Transmit_FS("\ncommand 0x8D", strlen);
	HAL_Delay(5);
	dataBME[0] = 0x14;
	if( HAL_I2C_Mem_Write(&hi2c2, 0x78, WRITE_COMMAND, I2C_MEMADD_SIZE_8BIT, dataBME, 1, 0x10000)==HAL_OK )
		CDC_Transmit_FS("\ncommand 0x14", strlen);

	//Display On
	HAL_Delay(5);
	dataBME[0] = 0xAF;
	if( HAL_I2C_Mem_Write(&hi2c2, 0x78, WRITE_COMMAND, I2C_MEMADD_SIZE_8BIT, dataBME, 1, 0x10000)==HAL_OK )
		CDC_Transmit_FS("\ncommand 0xAF", strlen);

	//Disable Entire Display Off
	HAL_Delay(5);
	dataBME[0] = 0xA5;
	if( HAL_I2C_Mem_Write(&hi2c2, 0x78, WRITE_COMMAND, I2C_MEMADD_SIZE_8BIT, dataBME, 1, 0x10000)==HAL_OK )
		CDC_Transmit_FS("\ncommand 0xA5", strlen);

}

#endif	//LED_OPERATIONS

/* USER CODE END 4 */

void _Error_Handler(char *file, int line)
{
  /* USER CODE BEGIN Error_Handler_Debug */
  /* User can add his own implementation to report the HAL error return state */
  while(1)
  {
	  /*PinReset(LEDB12_GPIO_Port, LEDB12_Pin);*/
	  HAL_GPIO_WritePin(LEDB12_GPIO_Port, LEDB12_Pin, GPIO_PIN_RESET);
  }
  /* USER CODE END Error_Handler_Debug */
}

/************************ (C) COPYRIGHT STMicroelectronics *****END OF FILE****/
